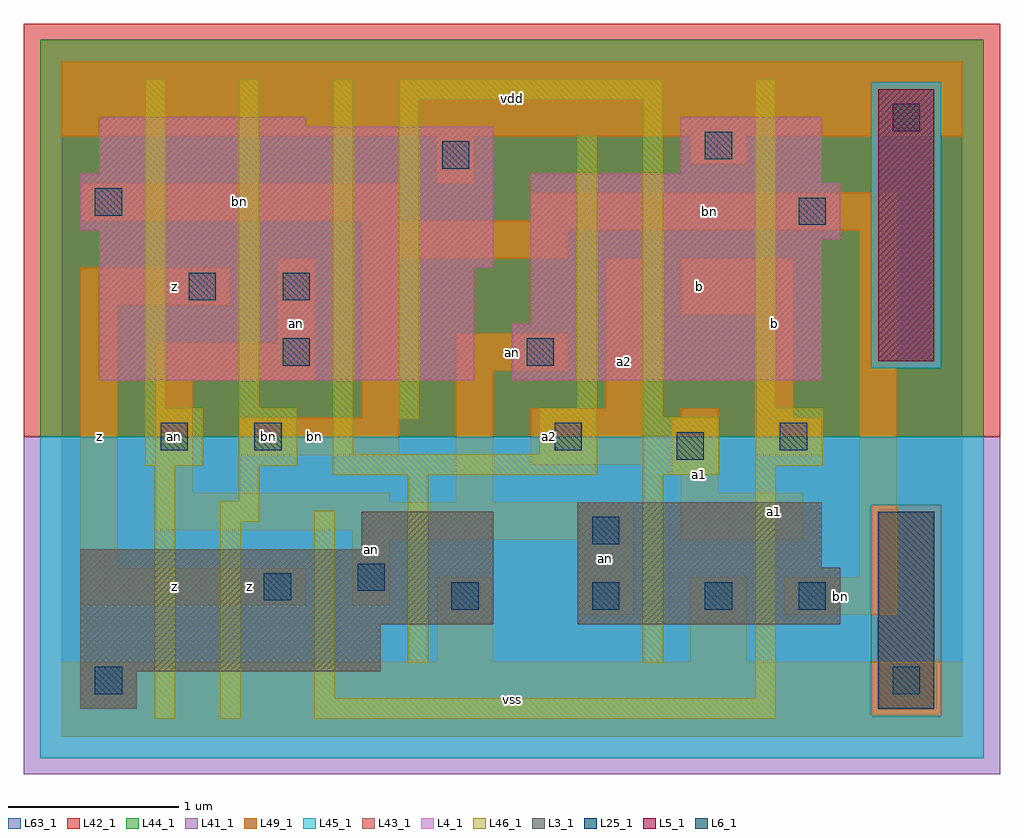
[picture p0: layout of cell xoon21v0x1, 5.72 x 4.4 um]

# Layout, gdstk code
import gdstk
lib = gdstk.Library(unit=1e-6, precision=1e-09)
def R(c, l, rs):  # rectangles x0, y0, x1, y1
    for r in rs: c.add(gdstk.rectangle(r[:2], r[2:], *l))
L3_1 = (3, 1)
L4_1 = (4, 1)
L5_1 = (5, 1)
L6_1 = (6, 1)
L25_1 = (25, 1)
L41_1 = (41, 1)
L42_1 = (42, 1)
L43_1 = (43, 1)
L44_1 = (44, 1)
L45_1 = (45, 1)
L46_1 = (46, 1)
L49_1 = (49, 1)
L63_1 = (63, 1)

xoon21v0x1 = lib.new_cell('xoon21v0x1')
R(xoon21v0x1, L3_1, [(0.11,0.165,0.44,0.385), (0.11,0.385,1.87,0.66), (0.11,0.66,2.53,1.1), (3.025,0.66,4.565,0.99), (3.025,0.99,4.455,1.375), (1.76,1.1,2.53,1.32)])
R(xoon21v0x1, L4_1, [(0.22,2.09,2.42,2.75), (2.64,2.09,4.455,2.42), (2.75,2.42,4.455,2.915), (0.22,2.75,2.53,2.97), (2.75,2.915,4.565,3.245), (0.11,2.97,2.53,3.3), (2.75,3.245,4.455,3.3), (0.22,3.3,2.53,3.575), (3.63,3.3,4.455,3.63), (0.22,3.575,1.43,3.63)])
R(xoon21v0x1, L5_1, [(4.785,2.2,5.115,3.795)])
R(xoon21v0x1, L6_1, [(4.785,0.165,5.115,1.32)])
R(xoon21v0x1, L25_1, [(0.195,0.25,0.355,0.41), (4.87,0.25,5.03,0.41), (2.285,0.745,2.445,0.905), (3.11,0.745,3.27,0.905), (3.77,0.745,3.93,0.905), (4.32,0.745,4.48,0.905), (1.185,0.8,1.345,0.96), (1.735,0.855,1.895,1.015), (3.11,1.13,3.27,1.29), (3.605,1.625,3.765,1.785), (0.58,1.68,0.74,1.84), (1.13,1.68,1.29,1.84), (2.89,1.68,3.05,1.84), (4.21,1.68,4.37,1.84), (1.295,2.175,1.455,2.335), (2.725,2.175,2.885,2.335), (0.745,2.56,0.905,2.72), (1.295,2.56,1.455,2.72), (4.32,3,4.48,3.16), (0.195,3.055,0.355,3.215), (2.23,3.33,2.39,3.49), (3.77,3.385,3.93,3.545), (4.87,3.55,5.03,3.71)])
R(xoon21v0x1, L41_1, [(-0.22,-0.22,5.5,1.76)])
R(xoon21v0x1, L42_1, [(-0.22,1.76,5.5,4.18)])
R(xoon21v0x1, L43_1, [(0.11,0.165,0.44,0.385), (4.785,0.165,5.115,1.32), (0.11,0.385,1.87,0.66), (0.11,0.66,2.53,1.1), (3.025,0.66,4.565,0.99), (3.025,0.99,4.455,1.375), (1.76,1.1,2.53,1.32), (0.22,2.09,2.42,2.75), (2.64,2.09,4.455,2.42), (4.785,2.2,5.115,3.795), (2.75,2.42,4.455,2.915), (0.22,2.75,2.53,2.97), (2.75,2.915,4.565,3.245), (0.11,2.97,2.53,3.3), (2.75,3.245,4.455,3.3), (0.22,3.3,2.53,3.575), (3.63,3.3,4.455,3.63), (0.22,3.575,1.43,3.63)])
R(xoon21v0x1, L44_1, [(4.745,0.125,5.155,1.36), (-0.125,1.76,5.405,2.16), (-0.125,2.16,4.745,3.835), (5.155,2.16,5.405,3.835), (-0.125,3.835,5.405,4.085)])
R(xoon21v0x1, L45_1, [(-0.125,-0.125,5.405,0.125), (-0.125,0.125,4.745,1.36), (5.155,0.125,5.405,1.36), (-0.125,1.36,5.405,1.76), (4.745,2.16,5.155,3.835)])
R(xoon21v0x1, L46_1, [(0.545,0.105,0.665,1.59), (0.93,0.105,1.05,1.26), (1.48,0.105,4.185,0.225), (1.48,0.225,1.6,1.325), (4.065,0.225,4.185,1.59), (2.03,0.435,2.15,1.535), (3.405,0.435,3.525,1.535), (0.93,1.26,1.16,1.38), (1.04,1.38,1.16,1.59), (1.59,1.535,3.14,1.655), (3.405,1.535,3.855,1.875), (0.49,1.59,0.83,1.93), (1.04,1.59,1.38,1.93), (4.065,1.59,4.46,1.93), (1.59,1.655,1.71,3.855), (2.8,1.655,3.14,1.93), (1.975,1.865,2.095,3.735), (3.405,1.875,3.525,3.735), (0.49,1.93,0.61,3.855), (1.04,1.93,1.16,3.855), (3.02,1.93,3.14,3.525), (4.065,1.93,4.185,3.855), (1.975,3.735,3.525,3.855)])
R(xoon21v0x1, L49_1, [(0,0,5.28,0.44), (2.2,0.44,2.53,0.935), (3.685,0.44,4.015,0.935), (3.025,0.715,3.355,1.155), (4.235,0.715,4.895,0.935), (0.11,0.77,1.43,0.99), (1.705,0.77,1.925,1.155), (4.675,0.935,4.895,2.97), (0.11,0.99,0.33,2.53), (1.705,1.155,3.355,1.21), (3.63,1.155,4.345,1.43), (0.55,1.21,3.355,1.375), (0.55,1.375,1.925,1.43), (2.31,1.375,2.53,2.145), (0.55,1.43,0.77,2.09), (3.63,1.43,3.85,1.54), (3.575,1.54,3.85,1.87), (2.75,1.595,3.41,1.925), (1.045,1.65,1.98,1.87), (4.07,1.65,4.455,1.87), (1.76,1.87,1.98,2.805), (3.63,1.87,3.85,1.925), (4.07,1.87,4.29,2.475), (3.19,1.925,3.41,2.805), (0.55,2.09,1.485,2.31), (2.31,2.145,2.97,2.365), (1.265,2.31,1.485,2.805), (3.63,2.475,4.29,2.805), (0.11,2.53,0.99,2.75), (1.76,2.805,2.97,2.97), (1.76,2.97,4.895,3.025), (0.11,3.025,1.98,3.245), (2.75,3.025,4.895,3.19), (2.2,3.245,2.42,3.52), (3.685,3.355,4.015,3.52), (0,3.52,5.28,3.96)])
R(xoon21v0x1, L63_1, [(0,0,5.28,3.96)])
xoon21v0x1.add(gdstk.Label('bn', (1.21,1.76), layer=49, texttype=1))
xoon21v0x1.add(gdstk.Label('an', (0.66,1.76), layer=49, texttype=1))
xoon21v0x1.add(gdstk.Label('z', (0.66,0.88), layer=49, texttype=1))
xoon21v0x1.add(gdstk.Label('z', (0.22,1.76), layer=49, texttype=1))
xoon21v0x1.add(gdstk.Label('an', (0.66,1.76), layer=49, texttype=1))
xoon21v0x1.add(gdstk.Label('z', (0.66,2.64), layer=49, texttype=1))
xoon21v0x1.add(gdstk.Label('an', (1.815,1.1), layer=49, texttype=1))
xoon21v0x1.add(gdstk.Label('z', (1.1,0.88), layer=49, texttype=1))
xoon21v0x1.add(gdstk.Label('bn', (1.485,1.76), layer=49, texttype=1))
xoon21v0x1.add(gdstk.Label('an', (1.375,2.42), layer=49, texttype=1))
xoon21v0x1.add(gdstk.Label('bn', (1.045,3.135), layer=49, texttype=1))
xoon21v0x1.add(gdstk.Label('vss', (2.64,0.22), layer=49, texttype=1))
xoon21v0x1.add(gdstk.Label('a2', (2.86,1.76), layer=49, texttype=1))
xoon21v0x1.add(gdstk.Label('an', (2.64,2.255), layer=49, texttype=1))
xoon21v0x1.add(gdstk.Label('vdd', (2.64,3.74), layer=49, texttype=1))
xoon21v0x1.add(gdstk.Label('an', (3.19,1.045), layer=49, texttype=1))
xoon21v0x1.add(gdstk.Label('a1', (4.18,1.32), layer=49, texttype=1))
xoon21v0x1.add(gdstk.Label('a1', (3.74,1.54), layer=49, texttype=1))
xoon21v0x1.add(gdstk.Label('a2', (3.3,2.2), layer=49, texttype=1))
xoon21v0x1.add(gdstk.Label('b', (4.18,2.42), layer=49, texttype=1))
xoon21v0x1.add(gdstk.Label('b', (3.74,2.64), layer=49, texttype=1))
xoon21v0x1.add(gdstk.Label('bn', (4.565,0.825), layer=49, texttype=1))
xoon21v0x1.add(gdstk.Label('bn', (3.795,3.08), layer=49, texttype=1))

lib.write_gds('xoon21v0x1.gds')
